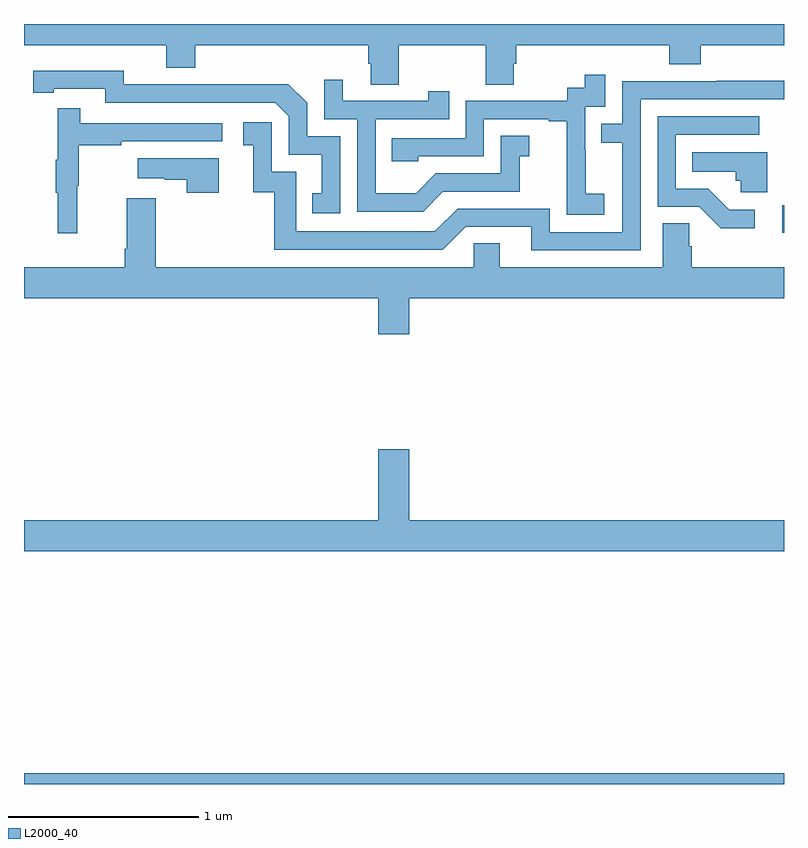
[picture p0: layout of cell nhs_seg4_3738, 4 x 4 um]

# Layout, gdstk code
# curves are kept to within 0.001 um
import gdstk
lib = gdstk.Library(unit=1e-6, precision=1e-09)
def R(c, l, rs):  # rectangles x0, y0, x1, y1
    for r in rs: c.add(gdstk.rectangle(r[:2], r[2:], *l))
def P(c, l, *ps):  # polygons
    for p in ps: c.add(gdstk.Polygon(p, *l))
L2000_40 = (2000, 40)

nhs_seg4_3738 = lib.new_cell('nhs_seg4_3738')
R(nhs_seg4_3738, L2000_40, [(307,824.9,311,824.956), (310.991,827.802,311,827.946)])
P(nhs_seg4_3738, L2000_40, [(308.973,828.788),(309.43,828.788),(309.43,828.58),(309.577,828.58),(309.577,828.69),(309.59,828.69),(309.59,828.788),(310.397,828.788),(310.397,828.689),(310.562,828.689),(310.562,828.788),(311,828.788),(311,828.9),(307,828.9),(307,828.788),(307.748,828.788),(307.748,828.671),(307.901,828.671),(307.901,828.788),(308.813,828.788),(308.813,828.69),(308.825,828.69),(308.825,828.58),(308.973,828.58)],
  [(308.664,828.309),(308.49,828.309),(308.49,828.486),(308.392,828.584),(307.984,828.584),(307.984,828.582),(307.524,828.582),(307.524,828.655),(307.048,828.654),(307.048,828.538),(307.156,828.538),(307.156,828.558),(307.428,828.558),(307.428,828.486),(308.322,828.486),(308.394,828.414),(308.394,828.213),(308.567,828.213),(308.567,828.009),(308.518,828.009),(308.518,827.904),(308.664,827.904)],
  [(310.054,828.007),(309.956,828.007),(309.956,828.236),(309.954,828.236),(309.954,828.465),(310.059,828.465),(310.059,828.634),(309.951,828.634),(309.951,828.564),(309.858,828.564),(309.858,828.495),(309.324,828.495),(309.324,828.3),(308.935,828.3),(308.935,828.177),(309.075,828.177),(309.075,828.204),(309.42,828.204),(309.42,828.399),(309.761,828.399),(309.761,828.387),(309.857,828.387),(309.857,828.103),(309.856,828.103),(309.856,827.897),(310.054,827.897)],
  [(309.205,828.018),(309.609,828.018),(309.609,828.203),(309.658,828.203),(309.658,828.313),(309.51,828.313),(309.51,828.114),(309.168,828.114),(309.064,828.01),(308.85,828.01),(308.85,828.399),(309.239,828.399),(309.239,828.547),(309.128,828.547),(309.128,828.495),(308.677,828.495),(308.677,828.607),(308.58,828.607),(308.58,828.399),(308.754,828.399),(308.754,827.913),(309.1,827.913)],
  [(310.245,828.504),(311,828.504),(311,828.602),(310.645,828.602),(310.645,828.6),(310.149,828.6),(310.149,828.375),(310.039,828.375),(310.039,828.274),(310.149,828.274),(310.149,827.805),(309.768,827.805),(309.768,827.928),(309.282,827.928),(309.162,827.808),(308.433,827.808),(308.433,828.123),(308.304,828.123),(308.304,828.382),(308.154,828.382),(308.154,828.261),(308.207,828.261),(308.207,828.015),(308.317,828.015),(308.317,827.712),(309.204,827.712),(309.324,827.832),(309.671,827.832),(309.671,827.709),(310.245,827.709)],
  [(307.28,828.048),(307.288,828.048),(307.288,828.262),(307.511,828.262),(307.511,828.282),(308.044,828.282),(308.044,828.378),(307.295,828.378),(307.295,828.457),(307.178,828.457),(307.178,828.185),(307.167,828.185),(307.167,828.011),(307.178,828.011),(307.178,827.799),(307.28,827.799)],
  [(310.846,827.922),(310.711,827.922),(310.6,828.033),(310.431,828.033),(310.431,828.318),(310.87,828.318),(310.87,828.414),(310.335,828.414),(310.335,827.937),(310.554,827.937),(310.667,827.825),(310.846,827.825)],
  [(310.912,828.226),(310.516,828.226),(310.516,828.122),(310.747,828.122),(310.747,828.075),(310.773,828.075),(310.773,828.014),(310.912,828.014)],
  [(308.026,828.193),(307.599,828.193),(307.599,828.089),(307.742,828.089),(307.742,828.079),(307.856,828.079),(307.856,828.012),(308.026,828.012)],
  [(309.028,827.456),(311,827.456),(311,827.62),(310.514,827.62),(310.514,827.729),(310.5,827.729),(310.5,827.852),(310.361,827.852),(310.361,827.62),(309.505,827.62),(309.505,827.747),(309.366,827.747),(309.366,827.62),(307.694,827.62),(307.694,827.983),(307.541,827.983),(307.541,827.716),(307.529,827.716),(307.529,827.62),(307,827.62),(307,827.456),(308.864,827.456),(308.864,827.268),(309.028,827.268)],
  [(311,826.288),(309.028,826.288),(309.028,826.663),(308.864,826.663),(308.864,826.288),(307,826.288),(307,826.124),(311,826.124)])

lib.write_gds('nhs_seg4_3738.gds')
